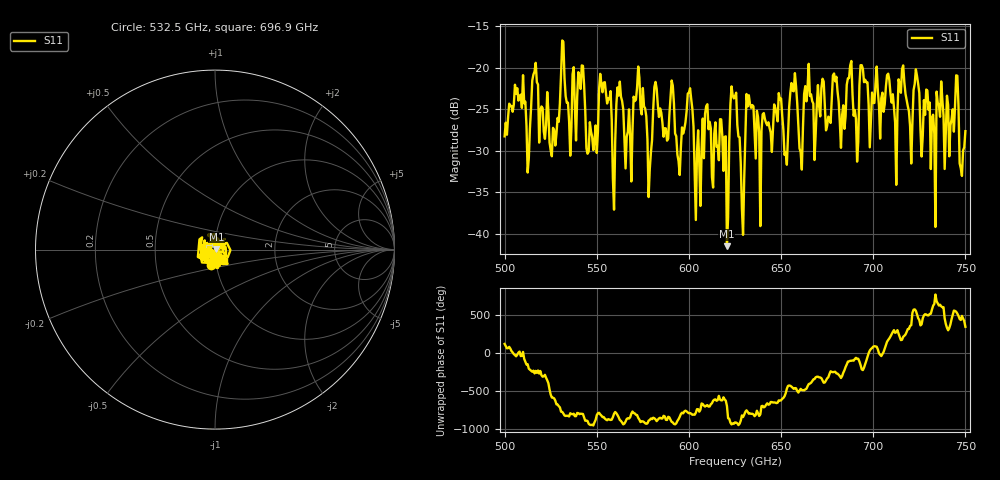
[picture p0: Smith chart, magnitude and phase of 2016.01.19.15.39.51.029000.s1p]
!Created with skrf (http://scikit-rf.org).
# GHz S RI R 50.0
!freq ReS11 ImS11
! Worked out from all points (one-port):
!   401 points, 500 GHz to 750 GHz, reference 50 ohm
!   lowest |S11| = -41.5 dB at 620.6 GHz (marker M1), VSWR 1.02, Z = 50.8 + j0.328 ohm
!   |S11| at or under -10 dB: start of sweep to end of sweep
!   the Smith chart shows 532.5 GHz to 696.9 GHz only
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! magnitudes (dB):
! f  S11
! 500 GHz  -28.2
! 513.1 GHz  -30.9
! 516.2 GHz  -20.4
! 526.2 GHz  -27.2
! 531.2 GHz  -16.7
! 545.6 GHz  -30.1
! 553.1 GHz  -22.9
! 559.4 GHz  -37.1
! 562.5 GHz  -21.6
! 578.8 GHz  -32.2
! 590.6 GHz  -21.5
! 593.8 GHz  -30.5
! 600.6 GHz  -22.5
! 605 GHz  -27.5
! 610 GHz  -24.4
! 620.6 GHz  -41.5
! 625 GHz  -23.4
! 629.4 GHz  -40.1
! 632.5 GHz  -23.3
! 652.5 GHz  -30.1
! 656.2 GHz  -22.7
! 660.6 GHz  -30.2
! 663.8 GHz  -24.0
! 687.5 GHz  -19.7
! 690.6 GHz  -26.1
! 694.4 GHz  -20.1
! 718.8 GHz  -24.6
! 750 GHz  -27.6
